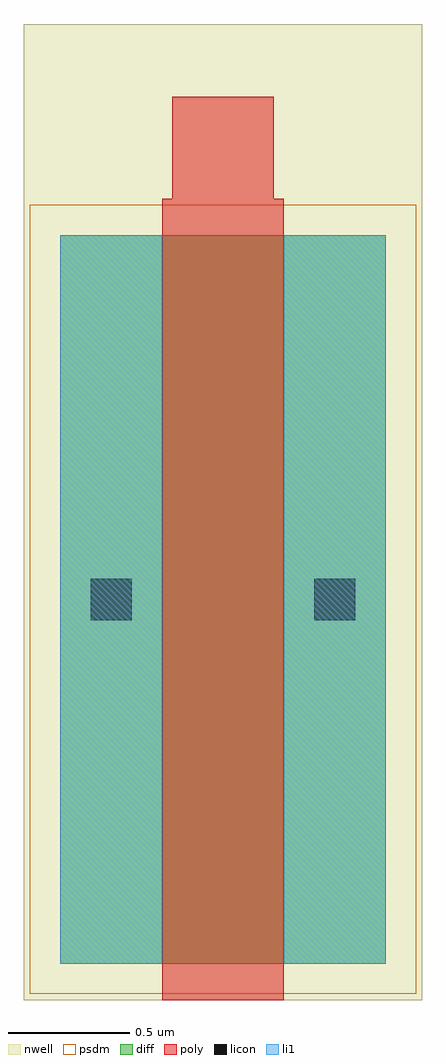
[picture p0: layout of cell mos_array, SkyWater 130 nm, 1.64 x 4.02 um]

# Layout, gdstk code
import gdstk
lib = gdstk.Library(unit=1e-6, precision=1e-09)
def R(c, l, rs):  # rectangles x0, y0, x1, y1
    for r in rs: c.add(gdstk.rectangle(r[:2], r[2:], *l))
nwell = (64, 20)
diff = (65, 20)
poly = (66, 20)
licon = (66, 44)
li1 = (67, 20)
psdm = (94, 20)

mos_array = lib.new_cell('mos_array')
R(mos_array, nwell, [(-0.15,-0.15,1.49,3.87)])
R(mos_array, diff, [(0,0,1.34,3)])
R(mos_array, poly, [(0.42,-0.15,0.92,3), (0.42,3,0.92,3.15), (0.42,3,0.92,3.15), (0.46,3.15,0.88,3.57)])
R(mos_array, licon, [(0.125,1.415,0.295,1.585), (1.045,1.415,1.215,1.585)])
R(mos_array, li1, [(0,0,0.42,3), (0.92,0,1.34,3)])
R(mos_array, psdm, [(-0.125,-0.125,1.465,3.125)])

lib.write_gds('mos_array.gds')
